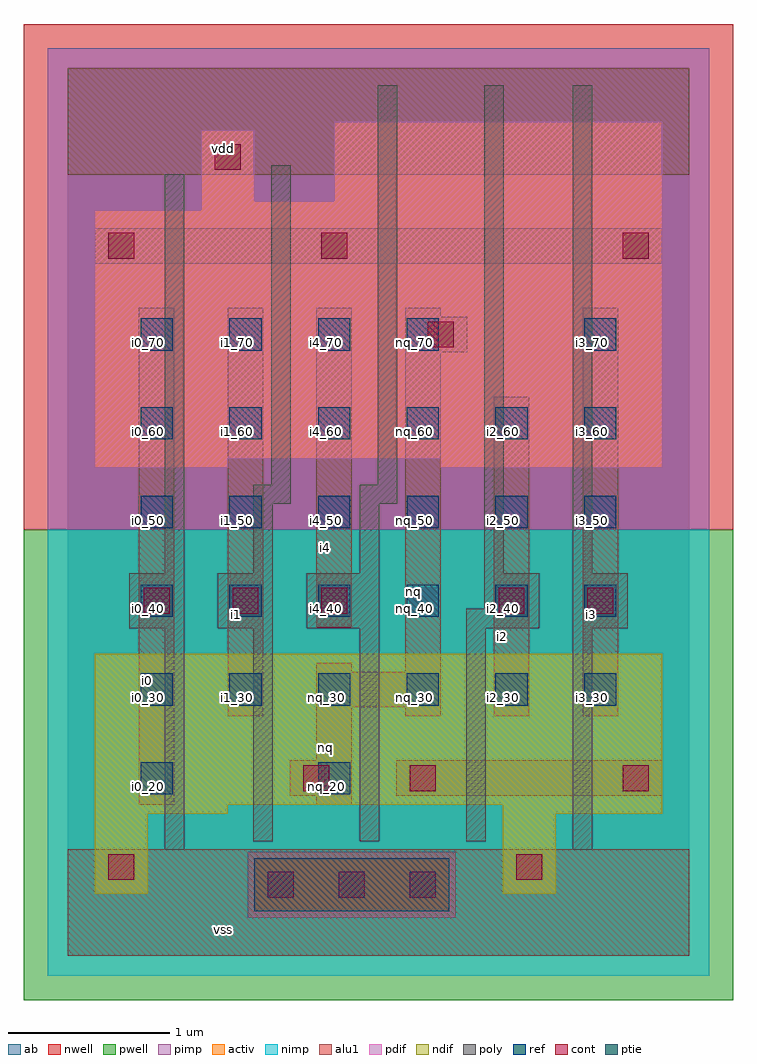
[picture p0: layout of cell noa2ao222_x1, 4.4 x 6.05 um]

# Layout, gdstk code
import gdstk
lib = gdstk.Library(unit=1e-6, precision=2.5e-09)
def R(c, l, rs):  # rectangles x0, y0, x1, y1
    for r in rs: c.add(gdstk.rectangle(r[:2], r[2:], *l))
def A(c, l, x, y, w, h, nx, ny, dx, dy):  # array of equal rectangles
    R(c, l, [(x+i*dx, y+j*dy, x+i*dx+w, y+j*dy+h) for i in range(nx) for j in range(ny)])
ndif = (3, 0)
pdif = (4, 0)
ptie = (6, 0)
ref = (24, 0)
cont = (25, 0)
pwell = (41, 0)
nwell = (42, 0)
activ = (43, 0)
pimp = (44, 0)
nimp = (45, 0)
poly = (46, 0)
alu1 = (49, 0)
ab = (63, 0)

noa2ao222_x1 = lib.new_cell('noa2ao222_x1')
R(noa2ao222_x1, ndif, [(0.165,0.385,0.495,0.88), (2.695,0.385,3.025,0.88), (0.165,0.88,0.99,0.935), (2.695,0.88,3.685,0.935), (0.165,0.935,3.685,1.87)])
R(noa2ao222_x1, pdif, [(0.165,3.025,0.99,3.08), (2.31,3.025,3.685,3.08), (0.165,3.08,3.685,4.62), (0.825,4.62,3.685,4.675), (0.825,4.675,1.155,5.115), (1.65,4.675,3.685,5.17)])
R(noa2ao222_x1, ptie, [(1.155,0.275,2.365,0.605)])
A(noa2ao222_x1, ref, 0.45, 1.55, 0.2, 0.2, 6, 4, 0.55, 0.55)
A(noa2ao222_x1, ref, 0.45, 3.75, 0.2, 0.2, 4, 1, 0.55, 0)
R(noa2ao222_x1, ref, [(0.45,1,0.65,1.2), (1.55,1,1.75,1.2), (3.2,3.75,3.4,3.95)])
A(noa2ao222_x1, cont, 1.24, 0.36, 0.16, 0.16, 3, 1, 0.44, 0)
A(noa2ao222_x1, cont, 0.47, 2.12, 0.16, 0.16, 3, 1, 0.55, 0)
R(noa2ao222_x1, cont, [(0.25,0.47,0.41,0.63), (2.78,0.47,2.94,0.63), (1.46,1.02,1.62,1.18), (2.12,1.02,2.28,1.18), (3.44,1.02,3.6,1.18), (2.67,2.12,2.83,2.28), (3.22,2.12,3.38,2.28), (2.23,3.77,2.39,3.93), (0.25,4.32,0.41,4.48), (1.57,4.32,1.73,4.48), (3.44,4.32,3.6,4.48), (0.91,4.87,1.07,5.03)])
R(noa2ao222_x1, pwell, [(-0.275,-0.275,4.125,2.64)])
R(noa2ao222_x1, nwell, [(-0.275,2.64,4.125,5.775)])
R(noa2ao222_x1, activ, [(1.155,0.275,2.365,0.605), (0.165,0.385,0.495,0.88), (2.695,0.385,3.025,0.88), (0.165,0.88,0.99,0.935), (2.695,0.88,3.685,0.935), (0.165,0.935,3.685,1.87), (0.165,3.025,0.99,3.08), (2.31,3.025,3.685,3.08), (0.165,3.08,3.685,4.62), (0.825,4.62,3.685,4.675), (0.825,4.675,1.155,5.115), (1.65,4.675,3.685,5.17)])
R(noa2ao222_x1, pimp, [(1.115,0.235,2.405,0.645), (-0.125,2.64,3.975,5.625)])
R(noa2ao222_x1, nimp, [(-0.125,-0.125,3.975,0.235), (-0.125,0.235,1.115,0.645), (2.405,0.235,3.975,0.645), (-0.125,0.645,3.975,2.64)])
A(noa2ao222_x1, poly, 1.15, 0.71, 0.12, 1.32, 3, 1, 0.66, 0)
R(noa2ao222_x1, poly, [(0.6,0.655,0.72,2.03), (3.13,0.655,3.25,2.03), (0.38,2.03,0.72,2.37), (0.93,2.03,1.27,2.37), (1.48,2.03,1.93,2.37), (2.47,2.03,2.92,2.15), (3.13,2.03,3.47,2.37), (2.58,2.15,2.92,2.37), (0.6,2.37,0.72,4.845), (1.15,2.37,1.27,2.8), (1.81,2.37,1.93,2.8), (2.58,2.37,2.7,5.395), (3.13,2.37,3.25,5.395), (1.15,2.8,1.38,2.92), (1.81,2.8,2.04,2.92), (1.26,2.92,1.38,4.9), (1.92,2.92,2.04,5.395)])
R(noa2ao222_x1, alu1, [(0,0,3.85,0.66), (0.44,0.935,0.66,4.015), (1.54,0.935,1.76,0.99), (1.375,0.99,1.76,1.21), (2.035,0.99,3.685,1.21), (1.54,1.21,1.76,1.54), (0.99,1.485,1.21,4.015), (2.09,1.485,2.31,1.54), (2.64,1.485,2.86,3.465), (3.19,1.485,3.41,4.015), (1.54,1.54,2.31,1.76), (1.54,1.76,1.76,1.815), (2.09,1.76,2.31,3.74), (1.54,2.035,1.76,4.015), (2.09,3.74,2.475,3.96), (2.09,3.96,2.31,4.015), (0.165,4.29,3.685,4.51), (0,4.84,3.85,5.5)])
R(noa2ao222_x1, ab, [(0,0,3.85,5.5)])
noa2ao222_x1.add(gdstk.Label('vss', (0.9625,0.165), layer=49, texttype=0))
noa2ao222_x1.add(gdstk.Label('i3', (3.245,2.1175), layer=49, texttype=0))
noa2ao222_x1.add(gdstk.Label('i2', (2.695,1.98), layer=49, texttype=0))
noa2ao222_x1.add(gdstk.Label('nq', (1.595,1.2925), layer=49, texttype=0))
noa2ao222_x1.add(gdstk.Label('nq', (2.145,2.255), layer=49, texttype=0))
noa2ao222_x1.add(gdstk.Label('i4', (1.595,2.53), layer=49, texttype=0))
noa2ao222_x1.add(gdstk.Label('i1', (1.045,2.1175), layer=49, texttype=0))
noa2ao222_x1.add(gdstk.Label('i0', (0.495,1.705), layer=49, texttype=0))
noa2ao222_x1.add(gdstk.Label('vdd', (0.9625,5.005), layer=49, texttype=0))
noa2ao222_x1.add(gdstk.Label('nq_30', (1.6,1.6), layer=24, texttype=0))
noa2ao222_x1.add(gdstk.Label('i3_70', (3.25,3.8), layer=24, texttype=0))
noa2ao222_x1.add(gdstk.Label('i3_60', (3.25,3.25), layer=24, texttype=0))
noa2ao222_x1.add(gdstk.Label('i3_50', (3.25,2.7), layer=24, texttype=0))
noa2ao222_x1.add(gdstk.Label('i3_40', (3.25,2.15), layer=24, texttype=0))
noa2ao222_x1.add(gdstk.Label('i3_30', (3.25,1.6), layer=24, texttype=0))
noa2ao222_x1.add(gdstk.Label('i2_60', (2.7,3.25), layer=24, texttype=0))
noa2ao222_x1.add(gdstk.Label('i2_50', (2.7,2.7), layer=24, texttype=0))
noa2ao222_x1.add(gdstk.Label('i2_40', (2.7,2.15), layer=24, texttype=0))
noa2ao222_x1.add(gdstk.Label('i2_30', (2.7,1.6), layer=24, texttype=0))
noa2ao222_x1.add(gdstk.Label('nq_20', (1.6,1.05), layer=24, texttype=0))
noa2ao222_x1.add(gdstk.Label('nq_30', (2.15,1.6), layer=24, texttype=0))
noa2ao222_x1.add(gdstk.Label('nq_40', (2.15,2.15), layer=24, texttype=0))
noa2ao222_x1.add(gdstk.Label('nq_50', (2.15,2.7), layer=24, texttype=0))
noa2ao222_x1.add(gdstk.Label('nq_60', (2.15,3.25), layer=24, texttype=0))
noa2ao222_x1.add(gdstk.Label('nq_70', (2.15,3.8), layer=24, texttype=0))
noa2ao222_x1.add(gdstk.Label('i4_40', (1.6,2.15), layer=24, texttype=0))
noa2ao222_x1.add(gdstk.Label('i4_50', (1.6,2.7), layer=24, texttype=0))
noa2ao222_x1.add(gdstk.Label('i4_60', (1.6,3.25), layer=24, texttype=0))
noa2ao222_x1.add(gdstk.Label('i4_70', (1.6,3.8), layer=24, texttype=0))
noa2ao222_x1.add(gdstk.Label('i1_30', (1.05,1.6), layer=24, texttype=0))
noa2ao222_x1.add(gdstk.Label('i1_40', (1.05,2.15), layer=24, texttype=0))
noa2ao222_x1.add(gdstk.Label('i1_50', (1.05,2.7), layer=24, texttype=0))
noa2ao222_x1.add(gdstk.Label('i1_60', (1.05,3.25), layer=24, texttype=0))
noa2ao222_x1.add(gdstk.Label('i1_70', (1.05,3.8), layer=24, texttype=0))
noa2ao222_x1.add(gdstk.Label('i0_70', (0.5,3.8), layer=24, texttype=0))
noa2ao222_x1.add(gdstk.Label('i0_60', (0.5,3.25), layer=24, texttype=0))
noa2ao222_x1.add(gdstk.Label('i0_50', (0.5,2.7), layer=24, texttype=0))
noa2ao222_x1.add(gdstk.Label('i0_40', (0.5,2.15), layer=24, texttype=0))
noa2ao222_x1.add(gdstk.Label('i0_30', (0.5,1.6), layer=24, texttype=0))
noa2ao222_x1.add(gdstk.Label('i0_20', (0.5,1.05), layer=24, texttype=0))

lib.write_gds('noa2ao222_x1.gds')
